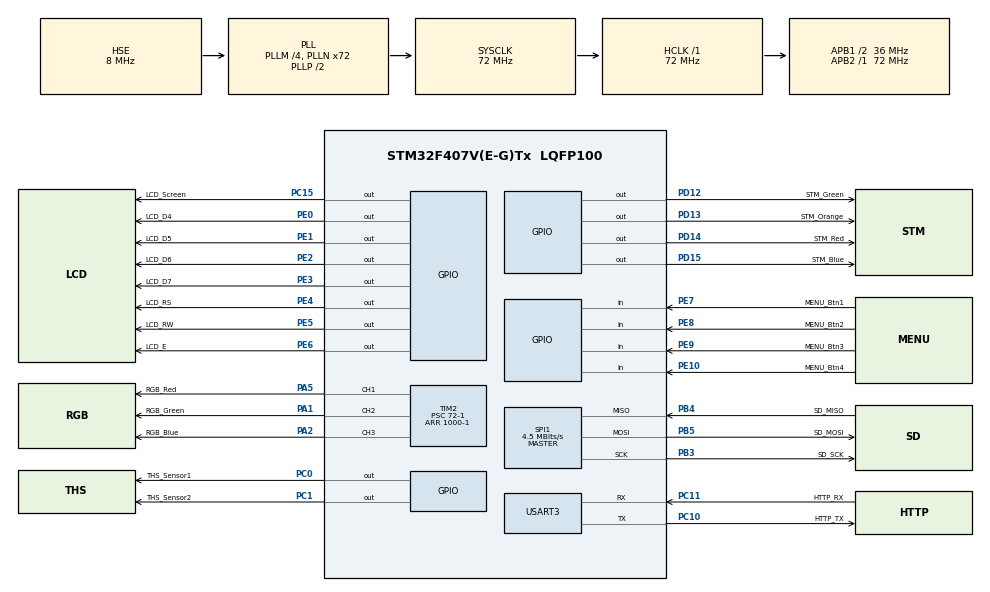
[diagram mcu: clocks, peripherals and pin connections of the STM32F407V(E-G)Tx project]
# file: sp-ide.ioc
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Mcu.Family=STM32F4
Mcu.Name=STM32F407V(E-G)Tx
Mcu.Package=LQFP100
NVIC.PriorityGroup=NVIC_PRIORITYGROUP_4
NVIC.TIM2_IRQn=true\:2\:0\:true\:false\:true\:true\:true
NVIC.TIM3_IRQn=true\:3\:0\:true\:false\:true\:true\:true
NVIC.USART3_IRQn=true\:1\:0\:true\:false\:true\:true\:true
PA1.GPIO_Label=RGB_Green
PA1.Signal=S_TIM2_CH2
PA13.Mode=Serial_Wire
PA13.Signal=SYS_JTMS-SWDIO
PA14.Mode=Serial_Wire
PA14.Signal=SYS_JTCK-SWCLK
PA2.GPIO_Label=RGB_Blue
PA2.Signal=S_TIM2_CH3
PA5.GPIO_Label=RGB_Red
PA5.Signal=S_TIM2_CH1_ETR
PB3.GPIO_Label=SD_SCK
PB3.Mode=Full_Duplex_Master
PB3.Signal=SPI1_SCK
PB4.GPIO_Label=SD_MISO
PB4.Mode=Full_Duplex_Master
PB4.Signal=SPI1_MISO
PB5.GPIO_Label=SD_MOSI
PB5.Mode=Full_Duplex_Master
PB5.Signal=SPI1_MOSI
PC0.GPIO_Label=THS_Sensor1
PC0.GPIO_PuPd=GPIO_PULLUP
PC0.Signal=GPIO_Output
PC1.GPIO_Label=THS_Sensor2
PC1.GPIO_PuPd=GPIO_PULLUP
PC1.Signal=GPIO_Output
PC10.GPIO_Label=HTTP_TX
PC10.Mode=Asynchronous
PC10.Signal=USART3_TX
PC11.GPIO_Label=HTTP_RX
PC11.Mode=Asynchronous
PC11.Signal=USART3_RX
PC15-OSC32_OUT.GPIO_Label=LCD_Screen
PC15-OSC32_OUT.GPIO_PuPd=GPIO_PULLDOWN
PC15-OSC32_OUT.Signal=GPIO_Output
PD12.GPIO_Label=STM_Green
PD12.Signal=GPIO_Output
PD13.GPIO_Label=STM_Orange
PD13.Signal=GPIO_Output
PD14.GPIO_Label=STM_Red
PD14.Signal=GPIO_Output
PD15.GPIO_Label=STM_Blue
PD15.Signal=GPIO_Output
PE0.GPIO_Label=LCD_D4
PE0.GPIO_PuPd=GPIO_PULLDOWN
PE0.Signal=GPIO_Output
PE1.GPIO_Label=LCD_D5
PE1.GPIO_PuPd=GPIO_PULLDOWN
PE1.Signal=GPIO_Output
PE10.GPIO_Label=MENU_Btn4
PE10.GPIO_PuPd=GPIO_PULLDOWN
PE10.Signal=GPIO_Input
PE2.GPIO_Label=LCD_D6
PE2.GPIO_PuPd=GPIO_PULLDOWN
PE2.Signal=GPIO_Output
PE3.GPIO_Label=LCD_D7
PE3.GPIO_PuPd=GPIO_PULLDOWN
PE3.Signal=GPIO_Output
PE4.GPIO_Label=LCD_RS
PE4.GPIO_PuPd=GPIO_PULLDOWN
PE4.Signal=GPIO_Output
PE5.GPIO_Label=LCD_RW
PE5.GPIO_PuPd=GPIO_PULLDOWN
PE5.Signal=GPIO_Output
PE6.GPIO_Label=LCD_E
PE6.GPIO_PuPd=GPIO_PULLDOWN
PE6.Signal=GPIO_Output
PE7.GPIO_Label=MENU_Btn1
PE7.GPIO_PuPd=GPIO_PULLUP
PE7.Signal=GPIO_Input
PE8.GPIO_Label=MENU_Btn2
PE8.GPIO_PuPd=GPIO_PULLDOWN
PE8.Signal=GPIO_Input
PE9.GPIO_Label=MENU_Btn3
PE9.GPIO_PuPd=GPIO_PULLDOWN
PE9.Signal=GPIO_Input
PH0-OSC_IN.Mode=HSE-External-Oscillator
PH0-OSC_IN.Signal=RCC_OSC_IN
PH1-OSC_OUT.Mode=HSE-External-Oscillator
PH1-OSC_OUT.Signal=RCC_OSC_OUT
ProjectManager.HeapSize=0x200
ProjectManager.StackSize=0x400
ProjectManager.TargetToolchain=STM32CubeIDE
RCC.48MHZClocksFreq_Value=48000000
RCC.AHBFreq_Value=72000000
RCC.APB1CLKDivider=RCC_HCLK_DIV2
RCC.APB1Freq_Value=36000000
RCC.APB1TimFreq_Value=72000000
RCC.APB2Freq_Value=72000000
RCC.APB2TimFreq_Value=72000000
RCC.CortexFreq_Value=72000000
RCC.HCLKFreq_Value=72000000
RCC.HSE_VALUE=8000000
RCC.HSI_VALUE=16000000
RCC.LSE_VALUE=32768
RCC.PLLM=4
RCC.PLLN=72
RCC.PLLQ=3
RCC.PLLSourceVirtual=RCC_PLLSOURCE_HSE
RCC.RCC_RTC_Clock_SourceVirtual=RCC_RTCCLKSOURCE_HSE_DIV16
RCC.RCC_RTC_Clock_Source_FROM_HSE=RCC_RTCCLKSOURCE_HSE_DIV16
RCC.SYSCLKFreq_VALUE=72000000
RCC.SYSCLKSource=RCC_SYSCLKSOURCE_PLLCLK
RCC.VCOOutputFreq_Value=144000000
RTC.AsynchPrediv=124
RTC.Date=26
RTC.Hours=12
RTC.Month=RTC_MONTH_APRIL
RTC.SynchPrediv=4000
RTC.WeekDay=RTC_WEEKDAY_SUNDAY
RTC.Year=20
SH.S_TIM2_CH1_ETR.0=TIM2_CH1,PWM Generation1 CH1
SH.S_TIM2_CH2.0=TIM2_CH2,PWM Generation2 CH2
SH.S_TIM2_CH3.0=TIM2_CH3,PWM Generation3 CH3
SPI1.BaudRatePrescaler=SPI_BAUDRATEPRESCALER_16
SPI1.CalculateBaudRate=4.5 MBits/s
SPI1.Direction=SPI_DIRECTION_2LINES
SPI1.Mode=SPI_MODE_MASTER
SPI1.VirtualType=VM_MASTER
TIM2.Channel-PWM\ Generation1\ CH1=TIM_CHANNEL_1
TIM2.Channel-PWM\ Generation2\ CH2=TIM_CHANNEL_2
TIM2.Channel-PWM\ Generation3\ CH3=TIM_CHANNEL_3
TIM2.Period=1000-1
TIM2.Prescaler=72-1
TIM3.Period=10000-1
TIM3.Prescaler=7200-1
TIM4.Period=0xFFFF-1
TIM4.Prescaler=72-1
USART3.VirtualMode=VM_ASYNC
VP_RTC_VS_RTC_Activate.Mode=RTC_Enabled
VP_RTC_VS_RTC_Calendar.Mode=RTC_Calendar
VP_TIM2_VS_ClockSourceINT.Mode=Internal
VP_TIM3_VS_ClockSourceINT.Mode=Internal
VP_TIM4_VS_ClockSourceINT.Mode=Internal
board=custom

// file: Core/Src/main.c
/* USER CODE BEGIN Header */
/**
 ******************************************************************************
 * @file           : main.c
 * @brief          : Main program body
 ******************************************************************************
 * @attention
 *
 * <h2><center>&copy; Copyright (c) 2020 STMicroelectronics.
 * All rights reserved.</center></h2>
 *
 * This software component is licensed by ST under BSD 3-Clause license,
 * the "License"; You may not use this file except in compliance with the
 * License. You may obtain a copy of the License at:
 *                        opensource.org/licenses/BSD-3-Clause
 *
 ******************************************************************************
 */
/* USER CODE END Header */

#include "main.h"

/* USER CODE BEGIN Includes */

#include "SP_RGB.h"
#include "SP_LCD.h"
#include "SP_THS.h"
#include "SP_SD.h"
#include "SP_NET.h"
#include "SP_MENU.h"
#include "SP_HTTP.h"

#include <stdbool.h>

/* USER CODE END Includes */

RTC_HandleTypeDef hrtc;

SPI_HandleTypeDef hspi1;

TIM_HandleTypeDef htim2;
TIM_HandleTypeDef htim3;
TIM_HandleTypeDef htim4;

UART_HandleTypeDef huart3;

/* USER CODE BEGIN PV */

StateEnum M_State;
ModeEnum M_Mode;

/* USER CODE END PV */

void SystemClock_Config(void);
static void MX_GPIO_Init(void);
static void MX_RTC_Init(void);
static void MX_SPI1_Init(void);
static void MX_TIM2_Init(void);
static void MX_TIM3_Init(void);
static void MX_TIM4_Init(void);
static void MX_USART3_UART_Init(void);

int main(void)
{

  /* MCU Configuration--------------------------------------------------------*/

  /* Reset of all peripherals, Initializes the Flash interface and the Systick. */
  HAL_Init();

  /* Configure the system clock */
  SystemClock_Config();

  /* Initialize all configured peripherals */
  MX_GPIO_Init();
  MX_RTC_Init();
  MX_SPI1_Init();
  MX_TIM2_Init();
  MX_TIM3_Init();
  MX_TIM4_Init();
  MX_USART3_UART_Init();
  /* USER CODE BEGIN 2 */

	/* Module Init */
	HAL_TIM_Base_Start_IT(&htim2); /* RGB Tim Init */
	HAL_TIM_PWM_Start(&htim2, TIM_CHANNEL_1);
	HAL_TIM_PWM_Start(&htim2, TIM_CHANNEL_2);
	HAL_TIM_PWM_Start(&htim2, TIM_CHANNEL_3);

	HAL_TIM_Base_Start_IT(&htim3); /* System Update Tim Init */
	HAL_TIM_Base_Start(&htim4); /* THS syncro clock */

	RGB_Init();
	LCD_Init();
	THS_Init();
	SD_Init();
	NET_Init();
	MENU_Init();
  /* USER CODE END 2 */

  /* Infinite loop */
  /* USER CODE BEGIN WHILE */

	LCD_ClearScreen();

	while (1) {
		if (M_State == ST_Clock) {
			MENU_Clock();
		}

		MENU_HandleInput();

    /* USER CODE END WHILE */

	}
}

void SystemClock_Config(void)
{
  RCC_OscInitTypeDef RCC_OscInitStruct = {0};
  RCC_ClkInitTypeDef RCC_ClkInitStruct = {0};
  RCC_PeriphCLKInitTypeDef PeriphClkInitStruct = {0};

  /** Configure the main internal regulator output voltage
  */
  __HAL_RCC_PWR_CLK_ENABLE();
  __HAL_PWR_VOLTAGESCALING_CONFIG(PWR_REGULATOR_VOLTAGE_SCALE1);
  /** Initializes the CPU, AHB and APB busses clocks
  */
  RCC_OscInitStruct.OscillatorType = RCC_OSCILLATORTYPE_HSE;
  RCC_OscInitStruct.HSEState = RCC_HSE_ON;
  RCC_OscInitStruct.PLL.PLLState = RCC_PLL_ON;
  RCC_OscInitStruct.PLL.PLLSource = RCC_PLLSOURCE_HSE;
  RCC_OscInitStruct.PLL.PLLM = 4;
  RCC_OscInitStruct.PLL.PLLN = 72;
  RCC_OscInitStruct.PLL.PLLP = RCC_PLLP_DIV2;
  RCC_OscInitStruct.PLL.PLLQ = 3;
  if (HAL_RCC_OscConfig(&RCC_OscInitStruct) != HAL_OK)
  {
    Error_Handler();
  }
  /** Initializes the CPU, AHB and APB busses clocks
  */
  RCC_ClkInitStruct.ClockType = RCC_CLOCKTYPE_HCLK|RCC_CLOCKTYPE_SYSCLK
                              |RCC_CLOCKTYPE_PCLK1|RCC_CLOCKTYPE_PCLK2;
  RCC_ClkInitStruct.SYSCLKSource = RCC_SYSCLKSOURCE_PLLCLK;
  RCC_ClkInitStruct.AHBCLKDivider = RCC_SYSCLK_DIV1;
  RCC_ClkInitStruct.APB1CLKDivider = RCC_HCLK_DIV2;
  RCC_ClkInitStruct.APB2CLKDivider = RCC_HCLK_DIV1;

  if (HAL_RCC_ClockConfig(&RCC_ClkInitStruct, FLASH_LATENCY_2) != HAL_OK)
  {
    Error_Handler();
  }
  PeriphClkInitStruct.PeriphClockSelection = RCC_PERIPHCLK_RTC;
  PeriphClkInitStruct.RTCClockSelection = RCC_RTCCLKSOURCE_HSE_DIV16;
  if (HAL_RCCEx_PeriphCLKConfig(&PeriphClkInitStruct) != HAL_OK)
  {
    Error_Handler();
  }
}

static void MX_RTC_Init(void)
{

  RTC_TimeTypeDef sTime = {0};
  RTC_DateTypeDef sDate = {0};

  /** Initialize RTC Only
  */
  hrtc.Instance = RTC;
  hrtc.Init.HourFormat = RTC_HOURFORMAT_24;
  hrtc.Init.AsynchPrediv = 124;
  hrtc.Init.SynchPrediv = 4000;
  hrtc.Init.OutPut = RTC_OUTPUT_DISABLE;
  hrtc.Init.OutPutPolarity = RTC_OUTPUT_POLARITY_HIGH;
  hrtc.Init.OutPutType = RTC_OUTPUT_TYPE_OPENDRAIN;
  if (HAL_RTC_Init(&hrtc) != HAL_OK)
  {
    Error_Handler();
  }

  /** Initialize RTC and set the Time and Date
  */
  sTime.Hours = 0x12;
  sTime.Minutes = 0x0;
  sTime.Seconds = 0x0;
  sTime.DayLightSaving = RTC_DAYLIGHTSAVING_NONE;
  sTime.StoreOperation = RTC_STOREOPERATION_RESET;
  if (HAL_RTC_SetTime(&hrtc, &sTime, RTC_FORMAT_BCD) != HAL_OK)
  {
    Error_Handler();
  }
  sDate.WeekDay = RTC_WEEKDAY_SUNDAY;
  sDate.Month = RTC_MONTH_APRIL;
  sDate.Date = 0x26;
  sDate.Year = 0x20;

  if (HAL_RTC_SetDate(&hrtc, &sDate, RTC_FORMAT_BCD) != HAL_OK)
  {
    Error_Handler();
  }

}

static void MX_SPI1_Init(void)
{

  /* SPI1 parameter configuration*/
  hspi1.Instance = SPI1;
  hspi1.Init.Mode = SPI_MODE_MASTER;
  hspi1.Init.Direction = SPI_DIRECTION_2LINES;
  hspi1.Init.DataSize = SPI_DATASIZE_8BIT;
  hspi1.Init.CLKPolarity = SPI_POLARITY_LOW;
  hspi1.Init.CLKPhase = SPI_PHASE_1EDGE;
  hspi1.Init.NSS = SPI_NSS_SOFT;
  hspi1.Init.BaudRatePrescaler = SPI_BAUDRATEPRESCALER_16;
  hspi1.Init.FirstBit = SPI_FIRSTBIT_MSB;
  hspi1.Init.TIMode = SPI_TIMODE_DISABLE;
  hspi1.Init.CRCCalculation = SPI_CRCCALCULATION_DISABLE;
  hspi1.Init.CRCPolynomial = 10;
  if (HAL_SPI_Init(&hspi1) != HAL_OK)
  {
    Error_Handler();
  }

}

static void MX_TIM2_Init(void)
{

  TIM_ClockConfigTypeDef sClockSourceConfig = {0};
  TIM_MasterConfigTypeDef sMasterConfig = {0};
  TIM_OC_InitTypeDef sConfigOC = {0};

  htim2.Instance = TIM2;
  htim2.Init.Prescaler = 72-1;
  htim2.Init.CounterMode = TIM_COUNTERMODE_UP;
  htim2.Init.Period = 1000-1;
  htim2.Init.ClockDivision = TIM_CLOCKDIVISION_DIV1;
  htim2.Init.AutoReloadPreload = TIM_AUTORELOAD_PRELOAD_DISABLE;
  if (HAL_TIM_Base_Init(&htim2) != HAL_OK)
  {
    Error_Handler();
  }
  sClockSourceConfig.ClockSource = TIM_CLOCKSOURCE_INTERNAL;
  if (HAL_TIM_ConfigClockSource(&htim2, &sClockSourceConfig) != HAL_OK)
  {
    Error_Handler();
  }
  if (HAL_TIM_PWM_Init(&htim2) != HAL_OK)
  {
    Error_Handler();
  }
  sMasterConfig.MasterOutputTrigger = TIM_TRGO_RESET;
  sMasterConfig.MasterSlaveMode = TIM_MASTERSLAVEMODE_DISABLE;
  if (HAL_TIMEx_MasterConfigSynchronization(&htim2, &sMasterConfig) != HAL_OK)
  {
    Error_Handler();
  }
  sConfigOC.OCMode = TIM_OCMODE_PWM1;
  sConfigOC.Pulse = 0;
  sConfigOC.OCPolarity = TIM_OCPOLARITY_HIGH;
  sConfigOC.OCFastMode = TIM_OCFAST_DISABLE;
  if (HAL_TIM_PWM_ConfigChannel(&htim2, &sConfigOC, TIM_CHANNEL_1) != HAL_OK)
  {
    Error_Handler();
  }
  if (HAL_TIM_PWM_ConfigChannel(&htim2, &sConfigOC, TIM_CHANNEL_2) != HAL_OK)
  {
    Error_Handler();
  }
  if (HAL_TIM_PWM_ConfigChannel(&htim2, &sConfigOC, TIM_CHANNEL_3) != HAL_OK)
  {
    Error_Handler();
  }
  HAL_TIM_MspPostInit(&htim2);

}

static void MX_TIM3_Init(void)
{

  TIM_ClockConfigTypeDef sClockSourceConfig = {0};
  TIM_MasterConfigTypeDef sMasterConfig = {0};

  htim3.Instance = TIM3;
  htim3.Init.Prescaler = 7200-1;
  htim3.Init.CounterMode = TIM_COUNTERMODE_UP;
  htim3.Init.Period = 10000-1;
  htim3.Init.ClockDivision = TIM_CLOCKDIVISION_DIV1;
  htim3.Init.AutoReloadPreload = TIM_AUTORELOAD_PRELOAD_DISABLE;
  if (HAL_TIM_Base_Init(&htim3) != HAL_OK)
  {
    Error_Handler();
  }
  sClockSourceConfig.ClockSource = TIM_CLOCKSOURCE_INTERNAL;
  if (HAL_TIM_ConfigClockSource(&htim3, &sClockSourceConfig) != HAL_OK)
  {
    Error_Handler();
  }
  sMasterConfig.MasterOutputTrigger = TIM_TRGO_RESET;
  sMasterConfig.MasterSlaveMode = TIM_MASTERSLAVEMODE_DISABLE;
  if (HAL_TIMEx_MasterConfigSynchronization(&htim3, &sMasterConfig) != HAL_OK)
  {
    Error_Handler();
  }

}

static void MX_TIM4_Init(void)
{

  TIM_ClockConfigTypeDef sClockSourceConfig = {0};
  TIM_MasterConfigTypeDef sMasterConfig = {0};

  htim4.Instance = TIM4;
  htim4.Init.Prescaler = 72-1;
  htim4.Init.CounterMode = TIM_COUNTERMODE_UP;
  htim4.Init.Period = 0xFFFF-1;
  htim4.Init.ClockDivision = TIM_CLOCKDIVISION_DIV1;
  htim4.Init.AutoReloadPreload = TIM_AUTORELOAD_PRELOAD_DISABLE;
  if (HAL_TIM_Base_Init(&htim4) != HAL_OK)
  {
    Error_Handler();
  }
  sClockSourceConfig.ClockSource = TIM_CLOCKSOURCE_INTERNAL;
  if (HAL_TIM_ConfigClockSource(&htim4, &sClockSourceConfig) != HAL_OK)
  {
    Error_Handler();
  }
  sMasterConfig.MasterOutputTrigger = TIM_TRGO_RESET;
  sMasterConfig.MasterSlaveMode = TIM_MASTERSLAVEMODE_DISABLE;
  if (HAL_TIMEx_MasterConfigSynchronization(&htim4, &sMasterConfig) != HAL_OK)
  {
    Error_Handler();
  }

}

static void MX_USART3_UART_Init(void)
{

  huart3.Instance = USART3;
  huart3.Init.BaudRate = 115200;
  huart3.Init.WordLength = UART_WORDLENGTH_8B;
  huart3.Init.StopBits = UART_STOPBITS_1;
  huart3.Init.Parity = UART_PARITY_NONE;
  huart3.Init.Mode = UART_MODE_TX_RX;
  huart3.Init.HwFlowCtl = UART_HWCONTROL_NONE;
  huart3.Init.OverSampling = UART_OVERSAMPLING_16;
  if (HAL_UART_Init(&huart3) != HAL_OK)
  {
    Error_Handler();
  }

}

static void MX_GPIO_Init(void)
{
  GPIO_InitTypeDef GPIO_InitStruct = {0};

  /* GPIO Ports Clock Enable */
  __HAL_RCC_GPIOE_CLK_ENABLE();
  __HAL_RCC_GPIOC_CLK_ENABLE();
  __HAL_RCC_GPIOH_CLK_ENABLE();
  __HAL_RCC_GPIOA_CLK_ENABLE();
  __HAL_RCC_GPIOD_CLK_ENABLE();
  __HAL_RCC_GPIOB_CLK_ENABLE();

  /*Configure GPIO pin Output Level */
  HAL_GPIO_WritePin(GPIOE, LCD_D6_Pin|LCD_D7_Pin|LCD_RS_Pin|LCD_RW_Pin
                          |LCD_E_Pin|LCD_D4_Pin|LCD_D5_Pin, GPIO_PIN_RESET);

  /*Configure GPIO pin Output Level */
  HAL_GPIO_WritePin(GPIOC, LCD_Screen_Pin|THS_Sensor1_Pin|THS_Sensor2_Pin, GPIO_PIN_RESET);

  /*Configure GPIO pin Output Level */
  HAL_GPIO_WritePin(GPIOD, STM_Green_Pin|STM_Orange_Pin|STM_Red_Pin|STM_Blue_Pin, GPIO_PIN_RESET);

  /*Configure GPIO pins : LCD_D6_Pin LCD_D7_Pin LCD_RS_Pin LCD_RW_Pin
                           LCD_E_Pin LCD_D4_Pin LCD_D5_Pin */
  GPIO_InitStruct.Pin = LCD_D6_Pin|LCD_D7_Pin|LCD_RS_Pin|LCD_RW_Pin
                          |LCD_E_Pin|LCD_D4_Pin|LCD_D5_Pin;
  GPIO_InitStruct.Mode = GPIO_MODE_OUTPUT_PP;
  GPIO_InitStruct.Pull = GPIO_PULLDOWN;
  GPIO_InitStruct.Speed = GPIO_SPEED_FREQ_LOW;
  HAL_GPIO_Init(GPIOE, &GPIO_InitStruct);

  /*Configure GPIO pin : LCD_Screen_Pin */
  GPIO_InitStruct.Pin = LCD_Screen_Pin;
  GPIO_InitStruct.Mode = GPIO_MODE_OUTPUT_PP;
  GPIO_InitStruct.Pull = GPIO_PULLDOWN;
  GPIO_InitStruct.Speed = GPIO_SPEED_FREQ_LOW;
  HAL_GPIO_Init(LCD_Screen_GPIO_Port, &GPIO_InitStruct);

  /*Configure GPIO pins : THS_Sensor1_Pin THS_Sensor2_Pin */
  GPIO_InitStruct.Pin = THS_Sensor1_Pin|THS_Sensor2_Pin;
  GPIO_InitStruct.Mode = GPIO_MODE_OUTPUT_PP;
  GPIO_InitStruct.Pull = GPIO_PULLUP;
  GPIO_InitStruct.Speed = GPIO_SPEED_FREQ_LOW;
  HAL_GPIO_Init(GPIOC, &GPIO_InitStruct);

  /*Configure GPIO pin : MENU_Btn1_Pin */
  GPIO_InitStruct.Pin = MENU_Btn1_Pin;
  GPIO_InitStruct.Mode = GPIO_MODE_INPUT;
  GPIO_InitStruct.Pull = GPIO_PULLUP;
  HAL_GPIO_Init(MENU_Btn1_GPIO_Port, &GPIO_InitStruct);

  /*Configure GPIO pins : MENU_Btn2_Pin MENU_Btn3_Pin MENU_Btn4_Pin */
  GPIO_InitStruct.Pin = MENU_Btn2_Pin|MENU_Btn3_Pin|MENU_Btn4_Pin;
  GPIO_InitStruct.Mode = GPIO_MODE_INPUT;
  GPIO_InitStruct.Pull = GPIO_PULLDOWN;
  HAL_GPIO_Init(GPIOE, &GPIO_InitStruct);

  /*Configure GPIO pins : STM_Green_Pin STM_Orange_Pin STM_Red_Pin STM_Blue_Pin */
  GPIO_InitStruct.Pin = STM_Green_Pin|STM_Orange_Pin|STM_Red_Pin|STM_Blue_Pin;
  GPIO_InitStruct.Mode = GPIO_MODE_OUTPUT_PP;
  GPIO_InitStruct.Pull = GPIO_NOPULL;
  GPIO_InitStruct.Speed = GPIO_SPEED_FREQ_LOW;
  HAL_GPIO_Init(GPIOD, &GPIO_InitStruct);

}

/* USER CODE BEGIN 4 */
/* SP Callback Definitions */
void HAL_TIM_PeriodElapsedCallback(TIM_HandleTypeDef *htim) {
	if (htim->Instance == TIM2) {
		RGB_Update();
		THS_ErrorClock();
	} else if (htim->Instance == TIM3 && M_State == ST_Clock) {
		MENU_IncTick();
	}
}

void HAL_UART_RxCpltCallback(UART_HandleTypeDef *uart) {
	NET_HandleUART_IT();
}
/* USER CODE END 4 */

void Error_Handler(void)
{
}

/************************ (C) COPYRIGHT STMicroelectronics *****END OF FILE****/
